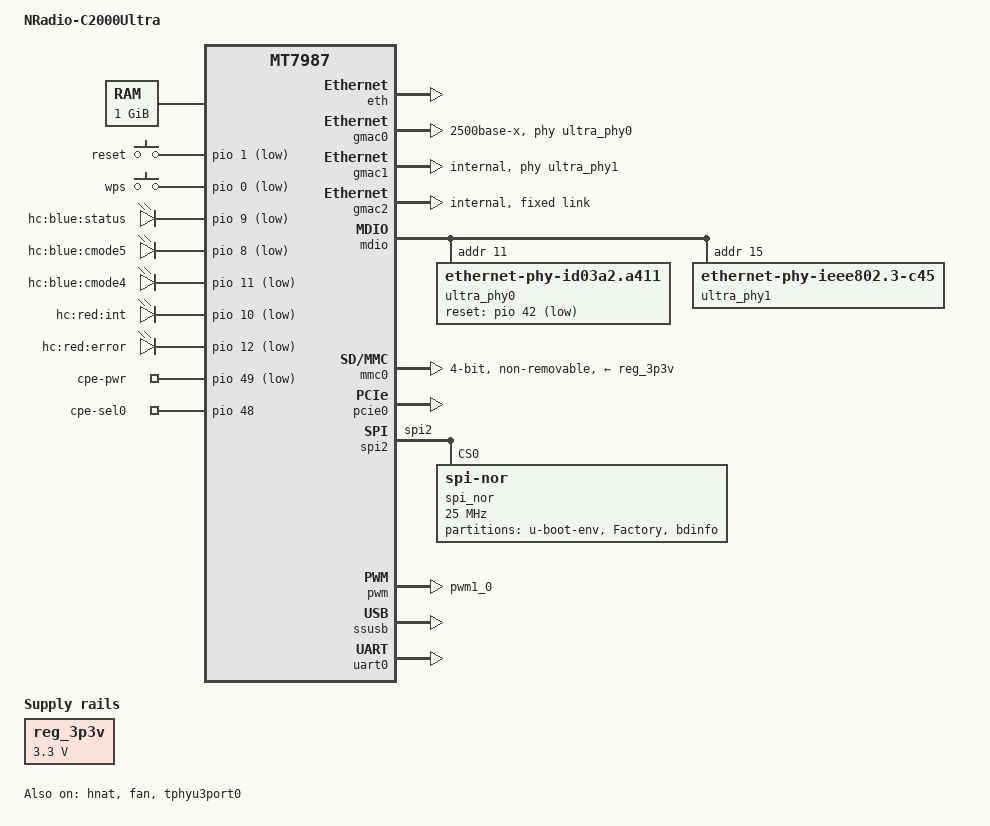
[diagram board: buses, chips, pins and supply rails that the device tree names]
// SPDX-License-Identifier: (GPL-2.0 OR MIT)
// Candidate board port, derived from this router's running DTB.
// Not accepted for installation until kernel/DTS/driver validation completes.
/dts-v1/;
#include "mt7987a.dtsi"
#include <dt-bindings/input/input.h>

/ {
	model = "NRadio-C2000Ultra";
	compatible = "NRadio-C2000MAX-Ultra", "mediatek,mt7987a", "mediatek,mt7987";

	aliases {
		serial0 = &uart0;
		led-boot = &led_status;
		led-failsafe = &led_status;
		led-running = &led_status;
		led-upgrade = &led_status;
	};

	chosen {
		// Public image reserves 512 MiB for read-only programs and fixes.
		openwrt,rootfs-data-offset = <536870912>;
		bootargs = "console=ttyS0,115200n1 earlycon=uart8250,mmio32,0x11000000 pci=pcie_bus_perf root=PARTLABEL=rootfs_2nd rootwait rootfstype=squashfs,f2fs cgroup_no_v1=all";
		stdout-path = "serial0:115200n8";
	};

	memory@40000000 {
		device_type = "memory";
		reg = <0x0 0x40000000 0x0 0x40000000>;
	};

	reg_3p3v: regulator-3p3v {
		compatible = "regulator-fixed";
		regulator-name = "fixed-3.3V";
		regulator-min-microvolt = <3300000>;
		regulator-max-microvolt = <3300000>;
		regulator-boot-on;
		regulator-always-on;
	};

	gpio-keys {
		compatible = "gpio-keys";
		reset { label = "reset"; linux,code = <KEY_RESTART>; gpios = <&pio 1 GPIO_ACTIVE_LOW>; debounce-interval = <10>; };
		wps { label = "wps"; linux,code = <KEY_WPS_BUTTON>; gpios = <&pio 0 GPIO_ACTIVE_LOW>; debounce-interval = <10>; };
	};

	gpio-leds {
		compatible = "gpio-leds";
		led_status: status { label = "hc:blue:status"; gpios = <&pio 9 GPIO_ACTIVE_LOW>; default-state = "on"; };
		cmode5 { label = "hc:blue:cmode5"; gpios = <&pio 8 GPIO_ACTIVE_LOW>; };
		cmode4 { label = "hc:blue:cmode4"; gpios = <&pio 11 GPIO_ACTIVE_LOW>; };
		internet { label = "hc:red:int"; gpios = <&pio 10 GPIO_ACTIVE_LOW>; };
		error { label = "hc:red:error"; gpios = <&pio 12 GPIO_ACTIVE_LOW>; };
	};

	gpio_export {
		compatible = "gpio-export";
		#size-cells = <0>;
		cpepower { gpio-export,name = "cpe-pwr"; gpio-export,output = <0>; gpios = <&pio 49 GPIO_ACTIVE_LOW>; };
		cpesel0 { gpio-export,name = "cpe-sel0"; gpio-export,output = <0>; gpios = <&pio 48 GPIO_ACTIVE_HIGH>; };
	};
};

&eth { status = "okay"; };

&gmac0 {
	phy-mode = "2500base-x";
	phy-handle = <&ultra_phy0>;
	status = "okay";
};

&gmac1 {
	phy-mode = "internal";
	phy-handle = <&ultra_phy1>;
	status = "okay";
};

&gmac2 {
	phy-mode = "internal";
	label = "hnat";
	status = "okay";
	fixed-link { speed = <2500>; full-duplex; pause; };
};

&mdio {
	#address-cells = <1>;
	#size-cells = <0>;
	ultra_phy0: ethernet-phy@b {
		compatible = "ethernet-phy-id03a2.a411";
		reg = <11>;
		reset-gpios = <&pio 42 GPIO_ACTIVE_LOW>;
		reset-assert-us = <10000>;
		reset-deassert-us = <10000>;
		phy-mode = "2500base-x";
		full-duplex;
		pause;
		airoha,phy-handle;
	};
	ultra_phy1: ethernet-phy@f {
		compatible = "ethernet-phy-ieee802.3-c45";
		reg = <15>;
		phy-mode = "internal";
		pinctrl-names = "i2p5gbe-led";
		pinctrl-0 = <&i2p5gbe_led0_pins>;
	};
};

&hnat {
	mtketh-wan = "eth1";
	mtketh-lan = "eth0";
	mtketh-lan2 = "hnat";
	mtketh-ppd = "hnat";
	mtketh-max-gmac = <2>;
	mtketh-ppe-num = <2>;
	ext-devices-prefix = "usb", "wwan", "rmnet", "eth2", "eth3";
	status = "okay";
};

&mmc0 {
	pinctrl-names = "default", "state_uhs";
	pinctrl-0 = <&mmc_pins_default>;
	pinctrl-1 = <&mmc_pins_uhs>;
	bus-width = <4>;
	max-frequency = <50000000>;
	cap-mmc-highspeed;
	cap-sd-highspeed;
	vmmc-supply = <&reg_3p3v>;
	vqmmc-supply = <&reg_3p3v>;
	non-removable;
	no-mmc;
	no-sdio;
	broken-cd;
	status = "okay";
};

&pcie0 {
	pinctrl-names = "default";
	pinctrl-0 = <&pcie0_pins>;
	// The 6.12 PCI driver asserts logical 1 then deasserts logical 0.
	// The running board leaves GPIO38 physically high; ACTIVE_LOW preserves it.
	wifi-reset-gpios = <&pio 38 GPIO_ACTIVE_LOW>;
	wifi-reset-msleep = <1000>;
	wifi-deassert-msleep = <500>;
	status = "okay";
};

&pcie1 { status = "disabled"; };

&spi2 {
	pinctrl-names = "default";
	pinctrl-0 = <&c2ku_spi2_pins>;
	#address-cells = <1>;
	#size-cells = <0>;
	status = "okay";
	spi_nor@0 {
		compatible = "jedec,spi-nor";
		reg = <0>;
		spi-max-frequency = <25000000>;
		partitions {
			compatible = "fixed-partitions";
			#address-cells = <1>;
			#size-cells = <1>;
			partition@40000 { label = "u-boot-env"; reg = <0x40000 0x10000>; };
			factory: partition@50000 { label = "Factory"; reg = <0x50000 0x100000>; read-only; };
			partition@150000 { label = "bdinfo"; reg = <0x150000 0x80000>; read-only; };
		};
	};
};

&pio {
	c2ku_spi2_pins: c2ku-spi2-pins { mux { function = "spi"; groups = "spi2"; }; };
	ultra_fan_pins: ultra-fan-pins { mux { function = "pwm"; groups = "pwm1_0"; }; };
};

&pwm {
	pinctrl-names = "default";
	pinctrl-0 = <&ultra_fan_pins>;
	status = "okay";
};

&fan {
		pwms = <&pwm 1 50000>;
	status = "okay";
};

&ssusb { status = "okay"; };
&tphyu3port0 { status = "okay"; };
&uart0 { pinctrl-names = "default"; pinctrl-0 = <&uart0_pins>; status = "okay"; };
